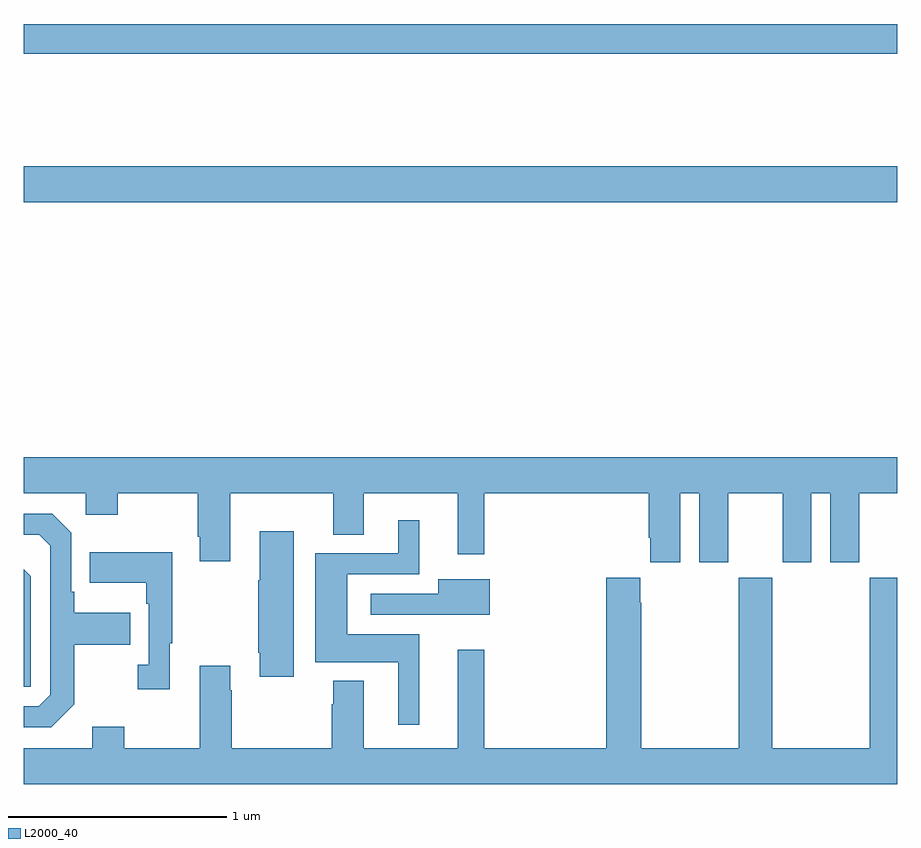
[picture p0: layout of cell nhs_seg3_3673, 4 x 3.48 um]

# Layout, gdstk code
import gdstk
lib = gdstk.Library(unit=1e-6, precision=1e-09)
def R(c, l, rs):  # rectangles x0, y0, x1, y1
    for r in rs: c.add(gdstk.rectangle(r[:2], r[2:], *l))
def P(c, l, *ps):  # polygons
    for p in ps: c.add(gdstk.Polygon(p, *l))
L2000_40 = (2000, 40)

nhs_seg3_3673 = lib.new_cell('nhs_seg3_3673')
R(nhs_seg3_3673, L2000_40, [(301,719.564,305,719.728), (301,720.244,305,720.38)])
P(nhs_seg3_3673, L2000_40, [(304.006,718.232),(304.094,718.232),(304.094,717.915),(304.225,717.915),(304.225,718.232),(304.475,718.232),(304.475,717.915),(304.606,717.915),(304.606,718.232),(304.694,718.232),(304.694,717.915),(304.825,717.915),(304.825,718.232),(305,718.232),(305,718.396),(301,718.396),(301,718.232),(301.284,718.232),(301.284,718.133),(301.431,718.133),(301.431,718.232),(301.798,718.232),(301.798,718.033),(301.805,718.033),(301.805,717.921),(301.945,717.921),(301.945,718.232),(302.417,718.232),(302.417,718.042),(302.557,718.042),(302.557,718.232),(302.987,718.232),(302.987,717.951),(303.109,717.951),(303.109,718.232),(303.863,718.232),(303.863,718.027),(303.869,718.027),(303.869,717.915),(304.006,717.915)],
  [(301.231,717.265),(301.231,717.538),(301.487,717.538),(301.487,717.685),(301.231,717.685),(301.231,717.781),(301.218,717.781),(301.218,718.05),(301.131,718.137),(301,718.137),(301,718.041),(301.071,718.041),(301.122,717.99),(301.122,717.309),(301.068,717.255),(301,717.255),(301,717.159),(301.125,717.159)],
  [(302.812,717.586),(302.482,717.586),(302.482,717.861),(302.812,717.861),(302.812,718.108),(302.714,718.108),(302.714,717.957),(302.336,717.957),(302.336,717.458),(302.714,717.458),(302.714,717.171),(302.812,717.171)],
  [(302.236,718.057),(302.081,718.057),(302.081,717.833),(302.074,717.833),(302.074,717.502),(302.081,717.502),(302.081,717.39),(302.236,717.39)],
  [(301.669,717.545),(301.681,717.545),(301.681,717.961),(301.303,717.961),(301.303,717.821),(301.56,717.821),(301.56,717.725),(301.572,717.725),(301.572,717.446),(301.521,717.446),(301.521,717.333),(301.669,717.333)],
  [(301.032,717.852),(301,717.884),(301,717.345),(301.032,717.345)],
  [(305,717.844),(304.873,717.844),(304.873,717.064),(304.428,717.064),(304.428,717.844),(304.273,717.844),(304.273,717.064),(303.828,717.064),(303.828,717.731),(303.823,717.731),(303.823,717.844),(303.668,717.844),(303.668,717.064),(303.109,717.064),(303.109,717.514),(302.987,717.514),(302.987,717.064),(302.557,717.064),(302.557,717.373),(302.417,717.373),(302.417,717.266),(302.41,717.266),(302.41,717.064),(301.953,717.064),(301.953,717.329),(301.945,717.329),(301.945,717.442),(301.805,717.442),(301.805,717.064),(301.461,717.064),(301.461,717.163),(301.313,717.163),(301.313,717.064),(301,717.064),(301,716.9),(305,716.9)],
  [(303.133,717.838),(302.897,717.838),(302.897,717.771),(302.589,717.771),(302.589,717.675),(302.901,717.675),(302.901,717.674),(303.133,717.674)])

lib.write_gds('nhs_seg3_3673.gds')
